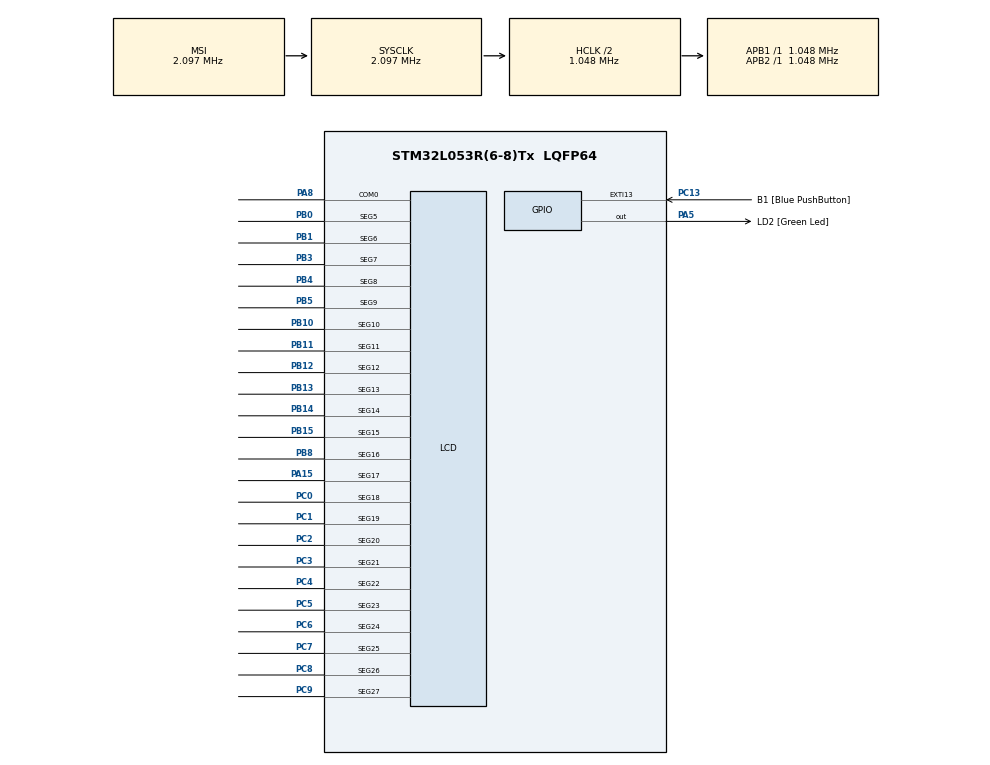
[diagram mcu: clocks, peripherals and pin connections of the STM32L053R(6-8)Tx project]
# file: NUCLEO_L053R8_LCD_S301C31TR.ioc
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LCD.Contrast=LCD_CONTRASTLEVEL_5
LCD.Divider=LCD_DIVIDER_25
LCD.Prescaler=LCD_PRESCALER_16
Mcu.Family=STM32L0
Mcu.Name=STM32L053R(6-8)Tx
Mcu.Package=LQFP64
PA13.GPIO_Label=TMS
PA13.Mode=Serial_Wire
PA13.Signal=SYS_SWDIO
PA14.GPIO_Label=TCK
PA14.Mode=Serial_Wire
PA14.Signal=SYS_SWCLK
PA15.Mode=SEG17
PA15.Signal=LCD_SEG17
PA5.GPIO_Label=LD2 [Green Led]
PA5.Signal=GPIO_Output
PA8.Mode=Static
PA8.Signal=LCD_COM0
PB0.Mode=SEG5
PB0.Signal=LCD_SEG5
PB1.Mode=SEG6
PB1.Signal=LCD_SEG6
PB10.Mode=SEG10
PB10.Signal=LCD_SEG10
PB11.Mode=SEG11
PB11.Signal=LCD_SEG11
PB12.Mode=SEG12
PB12.Signal=LCD_SEG12
PB13.Mode=SEG13
PB13.Signal=LCD_SEG13
PB14.Mode=SEG14
PB14.Signal=LCD_SEG14
PB15.Mode=SEG15
PB15.Signal=LCD_SEG15
PB3.Mode=SEG7
PB3.Signal=LCD_SEG7
PB4.Mode=SEG8
PB4.Signal=LCD_SEG8
PB5.Mode=SEG9
PB5.Signal=LCD_SEG9
PB8.Mode=SEG16
PB8.Signal=LCD_SEG16
PC0.Mode=SEG18
PC0.Signal=LCD_SEG18
PC1.Mode=SEG19
PC1.Signal=LCD_SEG19
PC13.GPIO_Label=B1 [Blue PushButton]
PC13.GPIO_ModeDefaultEXTI=GPIO_MODE_EVT_RISING
PC13.Signal=GPXTI13
PC14-OSC32_IN.Signal=RCC_OSC32_IN
PC15-OSC32_OUT.Signal=RCC_OSC32_OUT
PC2.Mode=SEG20
PC2.Signal=LCD_SEG20
PC3.Mode=SEG21
PC3.Signal=LCD_SEG21
PC4.Mode=SEG22
PC4.Signal=LCD_SEG22
PC5.Mode=SEG23
PC5.Signal=LCD_SEG23
PC6.Mode=SEG24
PC6.Signal=LCD_SEG24
PC7.Mode=SEG25
PC7.Signal=LCD_SEG25
PC8.Mode=SEG26
PC8.Signal=LCD_SEG26
PC9.Mode=SEG27
PC9.Signal=LCD_SEG27
PH0-OSC_IN.Signal=RCC_OSC_IN
PH1-OSC_OUT.Signal=RCC_OSC_OUT
ProjectManager.HeapSize=0x200
ProjectManager.StackSize=0x400
ProjectManager.TargetToolchain=SW4STM32
RCC.AHBCLKDivider=RCC_SYSCLK_DIV2
RCC.AHBFreq_Value=1048500
RCC.APB1Freq_Value=1048500
RCC.APB1TimFreq_Value=1048500
RCC.APB2Freq_Value=1048500
RCC.APB2TimFreq_Value=1048500
RCC.HCLKFreq_Value=1048500
RCC.HSE_VALUE=8000000
RCC.HSI16_VALUE=16000000
RCC.HSI48_VALUE=48000000
RCC.HSI_VALUE=16000000
RCC.LSEState=RCC_LSE_ON
RCC.LSE_VALUE=32768
RCC.MSI_VALUE=2097000
RCC.SYSCLKFreq_VALUE=2097000
RCC.VCOOutputFreq_Value=48000000
board=NUCLEO-L053R8

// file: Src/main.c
/**
  *
  * Drive the 3 digit 7 segment LCD display LCD-S301C31TR at ~50Hz
  * http://uk.farnell.com/lumex/lcd-s301c31tr/lcd-3-digit-0-31-7-87mm-reflective/dp/1838930
  *
  */
#include "main.h"
#include "stm32l0xx_hal.h"
#include "lcd.h"
#include "gpio.h"

/* USER CODE BEGIN PV */
/* Private variables ---------------------------------------------------------*/

/* USER CODE END PV */

void SystemClock_Config(void);
void Error_Handler(void);

/* USER CODE BEGIN PFP */
/* Private function prototypes -----------------------------------------------*/

/* USER CODE END PFP */

int main(void)
{

  /* MCU Configuration----------------------------------------------------------*/

  /* Reset of all peripherals, Initializes the Flash interface and the Systick. */
  HAL_Init();

  /* Configure the system clock */
  SystemClock_Config();

  /* Initialize all configured peripherals */
  MX_GPIO_Init();
  MX_LCD_Init();

  /* USER CODE BEGIN 2 */

  /*

             A
        ----------
        |         |
       F|         |B
        |         |
        -----G-----
        |         |
       E|         |C
        |         |  _
        ----------- |_|DP
             D

   */

    /* Segment pin mappings */
    /* Digit 1 */
    const uint32_t seg_e1  = 0b00000000000000000000000000100000; /* LCD_SEG5 */
    const uint32_t seg_d1  = 0b00000000000000000000000001000000; /* LCD_SEG6 */
    const uint32_t seg_c1  = 0b00000000000000000000000010000000; /* LCD_SEG7 */
    const uint32_t seg_dp1 = 0b00000000000000000000000100000000; /* LCD_SEG8 */
    const uint32_t seg_b1  = 0b00000000000000000000001000000000; /* LCD_SEG9 */
    const uint32_t seg_g1  = 0b00000000000000000000010000000000; /* LCD_SEG10 */
    const uint32_t seg_f1  = 0b00000000000000000000100000000000; /* LCD_SEG11 */
    const uint32_t seg_a1  = 0b00000000000000000001000000000000; /* LCD_SEG12 */
    /* Digit 2 */
    const uint32_t seg_e2  = 0b00000000000000000010000000000000; /* LCD_SEG13 */
    const uint32_t seg_d2  = 0b00000000000000000100000000000000; /* LCD_SEG14 */
    const uint32_t seg_c2  = 0b00000000000000001000000000000000; /* LCD_SEG15 */
    const uint32_t seg_dp2 = 0b00000000000000010000000000000000; /* LCD_SEG16 */
    const uint32_t seg_b2  = 0b00000000000000100000000000000000; /* LCD_SEG17 */
    const uint32_t seg_g2  = 0b00000000000001000000000000000000; /* LCD_SEG18 */
    const uint32_t seg_f2  = 0b00000000000010000000000000000000; /* LCD_SEG19 */
    const uint32_t seg_a2  = 0b00000000000100000000000000000000; /* LCD_SEG20 */
    /* Digit 3 */
    const uint32_t seg_e3  = 0b00000000001000000000000000000000; /* LCD_SEG21 */
    const uint32_t seg_d3  = 0b00000000010000000000000000000000; /* LCD_SEG22 */
    const uint32_t seg_c3  = 0b00000000100000000000000000000000; /* LCD_SEG23 */
    const uint32_t seg_b3  = 0b00000001000000000000000000000000; /* LCD_SEG24 */
    const uint32_t seg_g3  = 0b00000010000000000000000000000000; /* LCD_SEG25 */
    const uint32_t seg_f3  = 0b00000100000000000000000000000000; /* LCD_SEG26 */
    const uint32_t seg_a3  = 0b00001000000000000000000000000000; /* LCD_SEG27 */

    const uint32_t character_map[32] = {
        seg_a1 | seg_b1 | seg_c1 | seg_d1 | seg_e1 | seg_f1,          /* 0 */
        seg_b1 | seg_c1,                                              /* 1 */
        seg_a1 | seg_b1 | seg_g1 | seg_e1 | seg_d1,                   /* 2 */
        seg_a1 | seg_b1 | seg_g1 | seg_c1 | seg_d1,                   /* 3 */
        seg_f1 | seg_b1 | seg_g1 | seg_c1,                            /* 4 */
        seg_a1 | seg_f1 | seg_g1 | seg_c1 | seg_d1,                   /* 5 */
        seg_f1 | seg_e1 | seg_g1 | seg_c1 | seg_d1,                   /* 6 */
        seg_a1 | seg_b1 | seg_c1,                                     /* 7 */
        seg_a1 | seg_b1 | seg_c1 | seg_d1 | seg_e1 | seg_f1 | seg_g1, /* 8 */
        seg_a1 | seg_b1 | seg_c1 | seg_f1 | seg_g1,                   /* 9 */
        seg_dp1,                                                      /* . */

        seg_a2 | seg_b2 | seg_c2 | seg_d2 | seg_e2 | seg_f2,          /* 0 */
        seg_b2 | seg_c2,                                              /* 1 */
        seg_a2 | seg_b2 | seg_g2 | seg_e2 | seg_d2,                   /* 2 */
        seg_a2 | seg_b2 | seg_g2 | seg_c2 | seg_d2,                   /* 3 */
        seg_f2 | seg_b2 | seg_g2 | seg_c2,                            /* 4 */
        seg_a2 | seg_f2 | seg_g2 | seg_c2 | seg_d2,                   /* 5 */
        seg_f2 | seg_e2 | seg_g2 | seg_c2 | seg_d2,                   /* 6 */
        seg_a2 | seg_b2 | seg_c2,                                     /* 7 */
        seg_a2 | seg_b2 | seg_c2 | seg_d2 | seg_e2 | seg_f2 | seg_g2, /* 8 */
        seg_a2 | seg_b2 | seg_c2 | seg_f2 | seg_g2,                   /* 9 */
        seg_dp2,                                                      /* . */

        seg_a3 | seg_b3 | seg_c3 | seg_d3 | seg_e3 | seg_f3,          /* 0 */
        seg_b3 | seg_c3,                                              /* 1 */
        seg_a3 | seg_b3 | seg_g3 | seg_e3 | seg_d3,                   /* 2 */
        seg_a3 | seg_b3 | seg_g3 | seg_c3 | seg_d3,                   /* 3 */
        seg_f3 | seg_b3 | seg_g3 | seg_c3,                            /* 4 */
        seg_a3 | seg_f3 | seg_g3 | seg_c3 | seg_d3,                   /* 5 */
        seg_f3 | seg_e3 | seg_g3 | seg_c3 | seg_d3,                   /* 6 */
        seg_a3 | seg_b3 | seg_c3,                                     /* 7 */
        seg_a3 | seg_b3 | seg_c3 | seg_d3 | seg_e3 | seg_f3 | seg_g3, /* 8 */
        seg_a3 | seg_b3 | seg_c3 | seg_f3 | seg_g3,                   /* 9 */
    };

  int count = 0;

  /* USER CODE END 2 */

  /* Infinite loop */
  while (1)
  {

  /* USER CODE BEGIN 3 */

      LCD->RAM[LCD_RAM_REGISTER0] = character_map[count];
      //LCD->RAM[LCD_RAM_REGISTER0] = 0xFFFFFFFF;
      HAL_LCD_UpdateDisplayRequest(&hlcd);
      HAL_Delay(1000);

      count++;
      if (count > 31) {
          count = 0;
      }

  }
  /* USER CODE END 3 */

}

/** System Clock Configuration
*/
void SystemClock_Config(void)
{

  RCC_OscInitTypeDef RCC_OscInitStruct;
  RCC_ClkInitTypeDef RCC_ClkInitStruct;
  RCC_PeriphCLKInitTypeDef PeriphClkInit;

    /**Configure the main internal regulator output voltage
    */
  __HAL_PWR_VOLTAGESCALING_CONFIG(PWR_REGULATOR_VOLTAGE_SCALE1);

    /**Initializes the CPU, AHB and APB busses clocks
    */
  RCC_OscInitStruct.OscillatorType = RCC_OSCILLATORTYPE_LSI|RCC_OSCILLATORTYPE_MSI;
  RCC_OscInitStruct.MSIState = RCC_MSI_ON;
  RCC_OscInitStruct.MSICalibrationValue = 0;
  RCC_OscInitStruct.MSIClockRange = RCC_MSIRANGE_5;
  RCC_OscInitStruct.PLL.PLLState = RCC_PLL_NONE;
  if (HAL_RCC_OscConfig(&RCC_OscInitStruct) != HAL_OK)
  {
    Error_Handler();
  }

    /**Initializes the CPU, AHB and APB busses clocks
    */
  RCC_ClkInitStruct.ClockType = RCC_CLOCKTYPE_HCLK|RCC_CLOCKTYPE_SYSCLK
                              |RCC_CLOCKTYPE_PCLK1|RCC_CLOCKTYPE_PCLK2;
  RCC_ClkInitStruct.SYSCLKSource = RCC_SYSCLKSOURCE_MSI;
  RCC_ClkInitStruct.AHBCLKDivider = RCC_SYSCLK_DIV2;
  RCC_ClkInitStruct.APB1CLKDivider = RCC_HCLK_DIV1;
  RCC_ClkInitStruct.APB2CLKDivider = RCC_HCLK_DIV1;

  if (HAL_RCC_ClockConfig(&RCC_ClkInitStruct, FLASH_LATENCY_0) != HAL_OK)
  {
    Error_Handler();
  }

  PeriphClkInit.PeriphClockSelection = RCC_PERIPHCLK_RTC;
  PeriphClkInit.RTCClockSelection = RCC_RTCCLKSOURCE_LSI;
  if (HAL_RCCEx_PeriphCLKConfig(&PeriphClkInit) != HAL_OK)
  {
    Error_Handler();
  }

    /**Configure the Systick interrupt time
    */
  HAL_SYSTICK_Config(HAL_RCC_GetHCLKFreq()/1000);

    /**Configure the Systick
    */
  HAL_SYSTICK_CLKSourceConfig(SYSTICK_CLKSOURCE_HCLK);

  /* SysTick_IRQn interrupt configuration */
  HAL_NVIC_SetPriority(SysTick_IRQn, 0, 0);
}

void Error_Handler(void)
{
  while(1)
  {
  }
}
